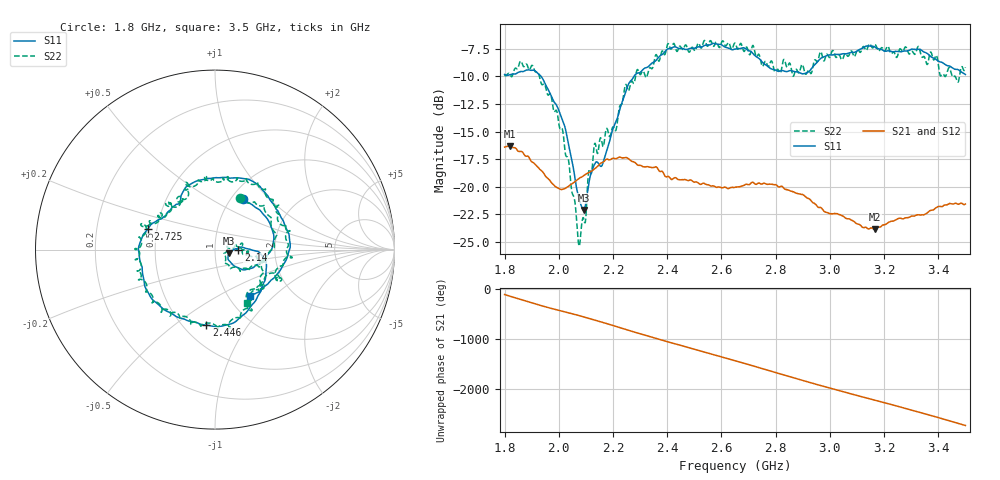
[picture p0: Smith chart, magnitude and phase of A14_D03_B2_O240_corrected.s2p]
! Created with skrf 1.9.0 (http://scikit-rf.org).
# Hz S RI R 50.0
!freq ReS11 ImS11 ReS21 ImS21 ReS12 ImS12 ReS22 ImS22
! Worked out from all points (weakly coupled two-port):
!   1601 points, 1.8 GHz to 3.5 GHz, reference 50 ohm
!   highest |S21| = -16.30 dB at 1.819 GHz (marker M1); lowest = -23.9 dB at 3.165 GHz (marker M2)
!   lowest |S11| = -22.1 dB at 2.092 GHz (marker M3), VSWR 1.17, Z = 58.1 - j2.45 ohm
!   |S11| at or under -10 dB: 1.935 GHz to 2.277 GHz (342.5 MHz wide, 16.3 % of centre)
!   |S22| runs from -25.4 to -6.7 dB; largest |S21 - S12| = 0.0026
!   S11 on the Smith chart (normalised r, x): 1.8 GHz: 1.13, +0.71; 2.14 GHz: 1.30, -0.01; 2.446 GHz: 0.64, -0.66; 2.725 GHz: 0.45, +0.12; 3.5 GHz: 1.25, -0.72
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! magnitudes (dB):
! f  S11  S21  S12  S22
! 1.8 GHz  -9.8  -16.4  -16.4  -9.9
! 1.819 GHz  -9.9  -16.3  -16.3  -9.8
! 1.903 GHz  -9.4  -17.8  -17.8  -9.0
! 1.968 GHz  -11.5  -19.4  -19.5  -11.6
! 2.015 GHz  -14.0  -20.2  -20.2  -14.9
! 2.072 GHz  -20.8  -19.3  -19.3  -25.0
! 2.084 GHz  -21.8  -19.1  -19.1  -23.5
! 2.092 GHz  -22.1  -19.0  -19.0  -22.9
! 2.112 GHz  -19.4  -18.7  -18.7  -18.4
! 2.14 GHz  -17.7  -18.2  -18.2  -16.8
! 2.163 GHz  -17.8  -17.8  -17.7  -16.4
! 2.26 GHz  -10.6  -17.5  -17.5  -11.2
! 2.367 GHz  -8.3  -18.5  -18.4  -8.6
! 2.446 GHz  -7.5  -19.4  -19.3  -7.2
! 2.65 GHz  -7.5  -20.0  -20.0  -7.0
! 2.725 GHz  -8.2  -19.8  -19.7  -8.0
! 2.934 GHz  -9.2  -21.3  -21.3  -9.6
! 3.165 GHz  -7.3  -23.9  -23.8  -7.2
! 3.217 GHz  -7.7  -23.2  -23.2  -7.4
! 3.327 GHz  -7.5  -22.5  -22.5  -7.3
! 3.468 GHz  -9.4  -21.5  -21.5  -10.3
! 3.5 GHz  -9.8  -21.6  -21.5  -9.2
